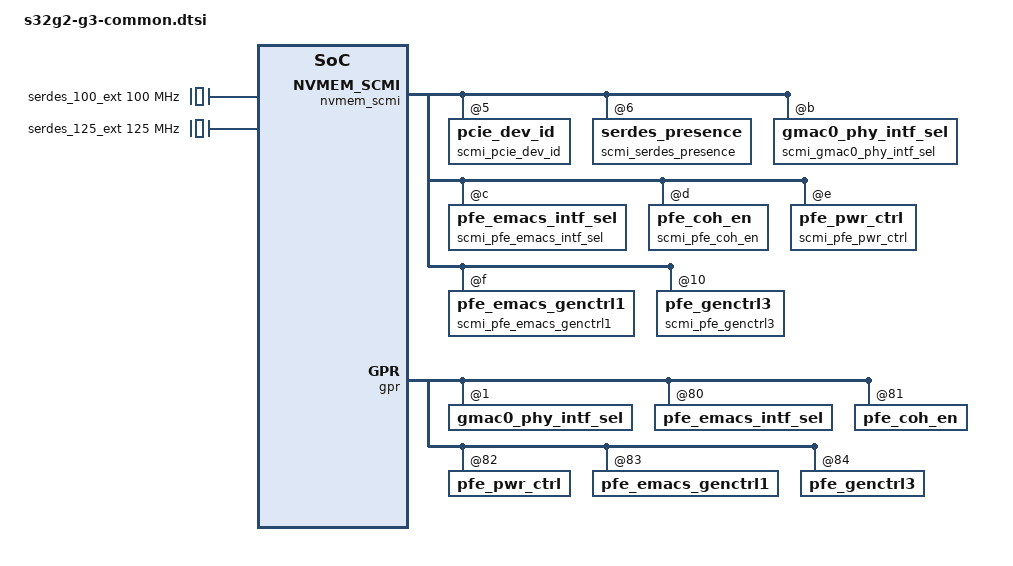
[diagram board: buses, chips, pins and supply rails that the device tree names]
// SPDX-License-Identifier: GPL-2.0-or-later OR MIT
/*
 * Copyright 2026 NXP
 */

#include <dt-bindings/nvmem/s32cc-scmi-nvmem.h>
#include <dt-bindings/nvmem/s32g-gpr-nvmem.h>
#include <dt-bindings/nvmem/s32g2-g3-common-siul2-nvmem.h>
#include <dt-bindings/phy/phy.h>
#include <dt-bindings/phy/phy-s32cc-serdes.h>
#include <dt-bindings/reset/s32g2-g3-common-scmi-reset.h>

#include "s32g.dtsi"
#include "s32g-pfe.dtsi"

/ {
	aliases {
		ethernet0 = &gmac0;

		pci0 = &pcie0;
		pci1 = &pcie1;

		serdes0 = &serdes0;
		serdes1 = &serdes1;
	};

	reserved-memory  {
		/* 4Mb shared memory for PCIe shared mem transfers, EP mode */
		pci_shared_memory0: shm@c0000000 {
			compatible = "nxp,s32cc-shm";
			reg = <0x0 0xc0000000 0x0 0x400000>;    /* 4 MB */
			no-map;
		};

		pci_shared_memory1: shm@c0400000 {
			compatible = "nxp,s32cc-shm";
			reg = <0x0 0xc0400000 0x0 0x400000>;    /* 4 MB */
			no-map;
		};

		pfe_reserved_bmu2: pfebufs@34000000 {
			compatible = "nxp,s32g-pfe-bmu2-pool";
			/* BMU2: 512 KB */
			reg = <0 0x34000000 0 0x80000>;
			no-map;
		};

		pfe_reserved_rt: pfebufs@34080000 {
			compatible = "nxp,s32g-pfe-rt-pool";
			/* RT: 128 KB */
			reg = <0 0x34080000 0 0x20000>;
			no-map;
		};

		pfe_reserved: pfebufs@83200000 {
			compatible = "shared-dma-pool";
			/* 4 MB - 128 KB */
			reg = <0 0x83200000 0 0x3e0000>;
			no-map;
		};

		pfe_reserved_bdr: pfebufs@835e0000 {
			compatible = "nxp,s32g-pfe-bdr-pool";
			/* 128 KB */
			reg = <0 0x835e0000 0 0x20000>;
		};
		/* ends 0x83600000 */
	};

	clocks {
		serdes_100_ext: serdes_100_ext {
			compatible = "fixed-clock";
			clock-frequency = <100000000>;
			#clock-cells = <0>;
		};

		serdes_125_ext: serdes_125_ext {
			compatible = "fixed-clock";
			clock-frequency = <125000000>;
			#clock-cells = <0>;
		};
	};

	soc {
		gmac0: ethernet@4033c000 {
			compatible = "nxp,s32g2-dwmac";
			reg = <0x0 0x4033c000 0x0 0x2000>, /* gmac IP */
			      <0x0 0x4007c004 0x0 0x4>;    /* GMAC_0_CTRL_STS */
			dma-coherent;
			interrupt-parent = <&gic>;
			interrupts = <GIC_SPI 57 IRQ_TYPE_LEVEL_HIGH>,
				     /* CHN 0: tx, rx */
				     <GIC_SPI 58 IRQ_TYPE_LEVEL_HIGH>,
				     <GIC_SPI 59 IRQ_TYPE_LEVEL_HIGH>,
				     /* CHN 1: tx, rx */
				     <GIC_SPI 60 IRQ_TYPE_LEVEL_HIGH>,
				     <GIC_SPI 61 IRQ_TYPE_LEVEL_HIGH>,
				     /* CHN 2: tx, rx */
				     <GIC_SPI 62 IRQ_TYPE_LEVEL_HIGH>,
				     <GIC_SPI 63 IRQ_TYPE_LEVEL_HIGH>,
				     /* CHN 3: tx, rx */
				     <GIC_SPI 64 IRQ_TYPE_LEVEL_HIGH>,
				     <GIC_SPI 65 IRQ_TYPE_LEVEL_HIGH>,
				     /* CHN 4: tx, rx */
				     <GIC_SPI 66 IRQ_TYPE_LEVEL_HIGH>,
				     <GIC_SPI 67 IRQ_TYPE_LEVEL_HIGH>;
			interrupt-names = "macirq",
					  "tx0", "rx0", "tx1", "rx1",
					  "tx2", "rx2", "tx3", "rx3",
					  "tx4", "rx4";
			nvmem-cell-names = "gmac_phy_intf_sel";
			nvmem-cells = <&gmac0_phy_intf_sel>;
			snps,mtl-rx-config = <&mtl_rx_setup_gmac0>;
			snps,mtl-tx-config = <&mtl_tx_setup_gmac0>;
			status = "disabled";

			mtl_rx_setup_gmac0: rx-queues-config {
				#address-cells = <1>;
				#size-cells = <0>;
				snps,rx-queues-to-use = <5>;

				queue@0 {
				};
				queue@1 {
				};
				queue@2 {
				};
				queue@3 {
				};
				queue@4 {
				};
			};

			mtl_tx_setup_gmac0: tx-queues-config {
				#address-cells = <1>;
				#size-cells = <0>;
				snps,tx-queues-to-use = <5>;

				queue@0 {
				};
				queue@1 {
				};
				queue@2 {
				};
				queue@3 {
				};
				queue@4 {
				};
			};

			gmac0_mdio: mdio0 {
				compatible = "snps,dwmac-mdio";
				#address-cells = <1>;
				#size-cells = <0>;
			};
		};

		pcie0: pcie@40400000 {
			compatible = "nxp,s32cc-pcie";
			dma-coherent;
			reg = <0x00 0x40400000 0x0 0x00001000>,   /* dbi registers */
			       <0x00 0x40420000 0x0 0x00001000>,   /* dbi2 registers */
			       <0x00 0x40460000 0x0 0x00001000>,   /* atu registers */
			       <0x00 0x40470000 0x0 0x00001000>,   /* dma registers */
			       <0x00 0x40481000 0x0 0x000000f8>,   /* ctrl registers */
			       /* RC configuration space, 4KB each for cfg0 and cfg1
				* at the end of the outbound memory map
				*/
			       <0x5f 0xffffe000 0x0 0x00002000>,
			       <0x58 0x00000000 0x0 0x40000000>; /* 1GB EP addr space */
			reg-names = "dbi", "dbi2", "atu", "dma", "ctrl",
				    "config", "addr_space";
			#address-cells = <3>;
			#size-cells = <2>;
			device_type = "pci";
			device_id = <0>;
			ranges =
				/* downstream I/O, 64KB and aligned naturally just
				 * before the config space to minimize fragmentation
				 */
				<0x81000000 0x0 0x00000000 0x5f 0xfffe0000 0x0 0x00010000>,
				/* non-prefetchable memory, with best case size and
				 * alignment
				 */
				<0x82000000 0x0 0x00000000 0x58 0x00000000 0x7 0xfffe0000>;

			nxp,phy-mode = "crns";
			num-lanes = <2>;
			bus-range = <0x0 0xff>;
			interrupts =  <GIC_SPI 124 IRQ_TYPE_LEVEL_HIGH>,
					<GIC_SPI 123 IRQ_TYPE_LEVEL_HIGH>,
					<GIC_SPI 125 IRQ_TYPE_LEVEL_HIGH>,
					<GIC_SPI 126 IRQ_TYPE_LEVEL_HIGH>,
					<GIC_SPI 127 IRQ_TYPE_LEVEL_HIGH>,
					<GIC_SPI 132 IRQ_TYPE_LEVEL_HIGH>,
					<GIC_SPI 133 IRQ_TYPE_LEVEL_HIGH>,
					<GIC_SPI 134 IRQ_TYPE_LEVEL_HIGH>;
			interrupt-names = "link_req_stat", "dma", "msi",
						"phy_link_down", "phy_link_up", "misc",
						"pcs", "tlp_req_no_comp";
			#interrupt-cells = <1>;
			interrupt-map-mask = <0 0 0 0x7>;
			interrupt-map = <0 0 0 1 &gic 0 0 0 128 4>,
						<0 0 0 2 &gic 0 0 0 129 4>,
						<0 0 0 3 &gic 0 0 0 130 4>,
						<0 0 0 4 &gic 0 0 0 131 4>;
			msi-parent = <&gic>;

			shared-mem = <&pci_shared_memory0>;

			nvmem-cell-names = "serdes_presence", "pcie_dev_id";
			nvmem-cells = <&serdes_presence>, <&pcie_dev_id>;

			status = "disabled";
		};

		serdes0: serdes@40480000 {
			#phy-cells = <3>;
			compatible = "nxp,s32cc-serdes";
			clocks = <&clks S32CC_SCMI_CLK_SERDES_AXI>,
				 <&clks S32CC_SCMI_CLK_SERDES_AUX>,
				 <&clks S32CC_SCMI_CLK_SERDES_APB>,
				 <&clks S32CC_SCMI_CLK_SERDES_REF>;
			clock-names = "axi", "aux", "apb", "ref";
			resets = <&reset S32CC_SCMI_RST_SERDES0>,
				 <&reset S32CC_SCMI_RST_PCIE0>;
			reset-names = "serdes", "pcie";
			nxp,sys-mode = <XPCSX2_MODE>;
			reg = <0x0 0x40480000 0x0 0x108>,
			      <0x0 0x40483008 0x0 0x10>,
			      <0x0 0x40482000 0x0 0x800>,
			      <0x0 0x40482800 0x0 0x800>;
			reg-names = "ss_pcie", "pcie_phy", "xpcs0", "xpcs1";
			status = "disabled";
		};

		pcie1: pcie@44100000 {
			compatible = "nxp,s32cc-pcie";
			dma-coherent;
			reg = <0x00 0x44100000 0x0 0x00001000>,   /* dbi registers */
			      <0x00 0x44120000 0x0 0x00001000>,   /* dbi2 registers */
			      <0x00 0x44160000 0x0 0x00001000>,   /* atu registers */
			      <0x00 0x44170000 0x0 0x00001000>,   /* dma registers */
			      <0x00 0x44181000 0x0 0x000000f8>,   /* ctrl registers */
			       /* RC configuration space, 4KB each for cfg0 and cfg1
				* at the end of the outbound memory map
				*/
			      <0x4f 0xffffe000 0x0 0x00002000>,
			      <0x48 0x00000000 0x0 0x40000000>; /* 1GB EP addr space */
			reg-names = "dbi", "dbi2", "atu", "dma", "ctrl",
				    "config", "addr_space";
			#address-cells = <3>;
			#size-cells = <2>;
			device_type = "pci";
			device_id = <1>;
			ranges =
				/* downstream I/O, 64KB and aligned naturally just
				 * before the config space to minimize fragmentation
				 */
				<0x81000000 0x0 0x00000000 0x4f 0xfffe0000 0x0 0x00010000>,
				/* non-prefetchable memory, with best case size and
				 * alignment
				 */
				<0x82000000 0x0 0x00000000 0x48 0x00000000 0x7 0xfffe0000>;

			nxp,phy-mode = "crns";
			num-lanes = <1>;
			bus-range = <0x0 0xff>;

			shared-mem = <&pci_shared_memory1>;

			nvmem-cell-names = "serdes_presence", "pcie_dev_id";
			nvmem-cells = <&serdes_presence>, <&pcie_dev_id>;

			status = "disabled";
		};

		serdes1: serdes@44180000 {
			#phy-cells = <3>;
			compatible = "nxp,s32cc-serdes";
			clocks = <&clks S32CC_SCMI_CLK_SERDES_AXI>,
				 <&clks S32CC_SCMI_CLK_SERDES_AUX>,
				 <&clks S32CC_SCMI_CLK_SERDES_APB>,
				 <&clks S32CC_SCMI_CLK_SERDES_REF>;
			clock-names = "axi", "aux", "apb", "ref";
			resets = <&reset S32CC_SCMI_RST_SERDES1>,
				 <&reset S32CC_SCMI_RST_PCIE1>;
			reset-names = "serdes", "pcie";
			nxp,sys-mode = <PCIE_XPCS0_MODE>;
			reg = <0x0 0x44180000 0x0 0x108>,
			      <0x0 0x44183008 0x0 0x10>,
			      <0x0 0x44182000 0x0 0x800>,
			      <0x0 0x44182800 0x0 0x800>;
			reg-names = "ss_pcie", "pcie_phy", "xpcs0", "xpcs1";
			status = "disabled";
		};
	};
};

&nvmem_scmi {
	nvmem-cells = <&scmi_soc_letter>, <&scmi_part_no>,
		      <&scmi_soc_major>, <&scmi_soc_minor>,
		      <&scmi_core_max_freq>,
		      <&scmi_pcie_dev_id>,
		      <&scmi_serdes_presence>,
		      <&scmi_soc_subminor>,
		      <&scmi_reset_cause>,
		      <&scmi_lockstep_enabled>,
		      <&scmi_ddr_pmu_irq>,
		      <&scmi_gmac0_phy_intf_sel>,
		      <&scmi_pfe_emacs_intf_sel>,
		      <&scmi_pfe_coh_en>,
		      <&scmi_pfe_pwr_ctrl>,
		      <&scmi_pfe_emacs_genctrl1>,
		      <&scmi_pfe_genctrl3>;
	nvmem-cell-names = "soc_letter", "part_no",
			   "soc_major", "soc_minor",
			   "core_max_freq",
			   "pcie_dev_id",
			   "serdes_presence",
			   "soc_subminor",
			   "reset_cause",
			   "lockstep_enabled",
			   "ddr_pmu_irq",
			   "gmac_phy_intf_sel",
			   "pfe_emacs_intf_sel",
			   "pfe_coh_en",
			   "pfe_pwr_ctrl",
			   "pfe_emacs_genctrl1",
			   "pfe_genctrl3";

	scmi_pcie_dev_id: pcie_dev_id@5 {
		reg = <S32CC_SCMI_NVMEM_PCIE_DEV_ID
			S32CC_SCMI_NVMEM_CELL_SIZE>;
	};

	scmi_serdes_presence: serdes_presence@6 {
		reg = <S32CC_SCMI_NVMEM_SERDES_PRESENCE
			S32CC_SCMI_NVMEM_CELL_SIZE>;
	};

	scmi_gmac0_phy_intf_sel: gmac0_phy_intf_sel@b {
		reg = <S32CC_SCMI_NVMEM_GMAC0_PHY_INTF_SEL
			S32CC_SCMI_NVMEM_CELL_SIZE>;
	};

	scmi_pfe_emacs_intf_sel: pfe_emacs_intf_sel@c {
		reg = <S32CC_SCMI_NVMEM_PFE_EMACS_INTF_SEL
			S32CC_SCMI_NVMEM_CELL_SIZE>;
	};

	scmi_pfe_coh_en: pfe_coh_en@d {
		reg = <S32CC_SCMI_NVMEM_PFE_COH_EN
			S32CC_SCMI_NVMEM_CELL_SIZE>;
	};

	scmi_pfe_pwr_ctrl: pfe_pwr_ctrl@e {
		reg = <S32CC_SCMI_NVMEM_PFE_PWR_CTRL
			S32CC_SCMI_NVMEM_CELL_SIZE>;
	};

	scmi_pfe_emacs_genctrl1: pfe_emacs_genctrl1@f {
		reg = <S32CC_SCMI_NVMEM_PFE_EMACS_GENCTRL1
			S32CC_SCMI_NVMEM_CELL_SIZE>;
	};

	scmi_pfe_genctrl3: pfe_genctrl3@10 {
		reg = <S32CC_SCMI_NVMEM_PFE_GENCTRL3
			S32CC_SCMI_NVMEM_CELL_SIZE>;
	};
};

&gpr {
	gmac0_phy_intf_sel: gmac0_phy_intf_sel@1 {
		reg = <S32CC_GPR_GMAC0_PHY_INTF_SEL_OFFSET
			S32CC_GPR_CELL_SIZE>;
	};

	pfe_emacs_intf_sel: pfe_emacs_intf_sel@80 {
		reg = <S32G_GPR_PFE_EMACS_INTF_SEL_OFFSET
			S32G_GPR_CELL_SIZE>;
	};

	pfe_coh_en: pfe_coh_en@81 {
		reg = <S32G_GPR_PFE_COH_EN_OFFSET
			S32G_GPR_CELL_SIZE>;
	};

	pfe_pwr_ctrl: pfe_pwr_ctrl@82 {
		reg = <S32G_GPR_PFE_PWR_CTRL_OFFSET
			S32G_GPR_CELL_SIZE>;
	};

	pfe_emacs_genctrl1: pfe_emacs_genctrl1@83 {
		reg = <S32G_GPR_PFE_EMACS_GENCTRL1_OFFSET
			S32G_GPR_CELL_SIZE>;
	};

	pfe_genctrl3: pfe_genctrl3@84 {
		reg = <S32G_GPR_PFE_GENCTRL3_OFFSET
			S32G_GPR_CELL_SIZE>;
	};
};

&siul2 {
	nvram1: nvram@44010000 {
		compatible = "nxp,s32cc-siul2_1-nvmem";
		reg = <MIDR_SIUL2_1 0x0 0x0 0x10>;
		#address-cells = <1>;
		#size-cells = <1>;

		serdes_presence: serdes_presence@0 {
			reg = <SERDES_PRESENCE_OFFSET NVRAM_CELL_SIZE>;
		};
	};
};

&nvram {
	pcie_dev_id: pcie_dev_id@2 {
		reg = <PCIE_DEV_ID_OFFSET NVRAM_CELL_SIZE>;
	};
};
